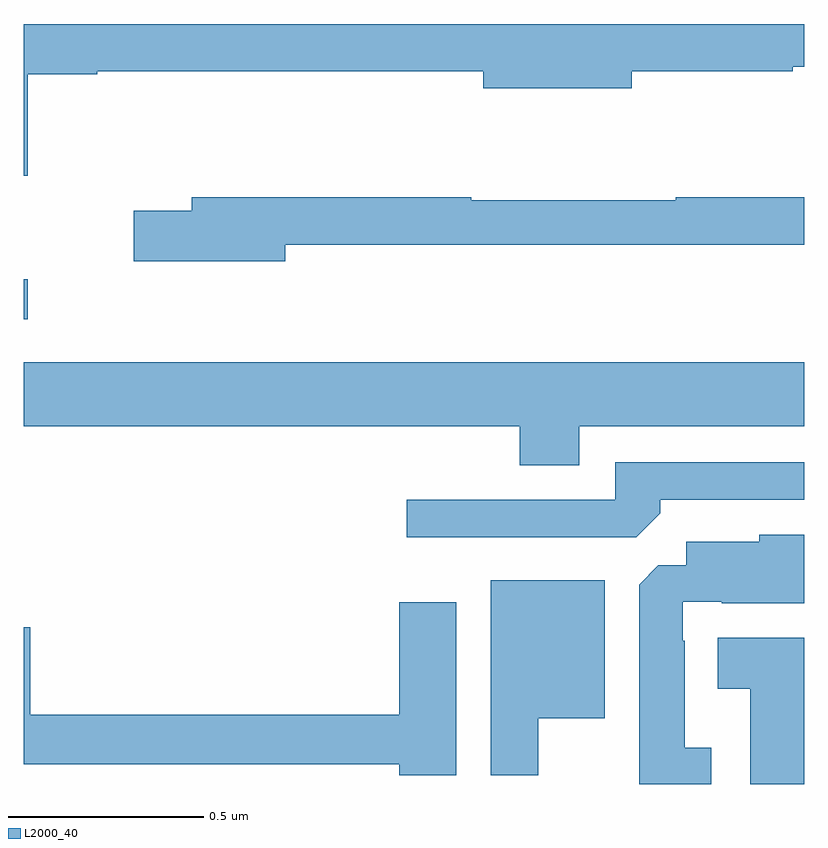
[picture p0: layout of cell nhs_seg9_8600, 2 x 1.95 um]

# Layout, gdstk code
import gdstk
lib = gdstk.Library(unit=1e-6, precision=1e-09)
def R(c, l, rs):  # rectangles x0, y0, x1, y1
    for r in rs: c.add(gdstk.rectangle(r[:2], r[2:], *l))
def P(c, l, *ps):  # polygons
    for p in ps: c.add(gdstk.Polygon(p, *l))
L2000_40 = (2000, 40)

nhs_seg9_8600 = lib.new_cell('nhs_seg9_8600')
R(nhs_seg9_8600, L2000_40, [(219,1200.69,219.011,1200.793)])
P(nhs_seg9_8600, L2000_40, [(219.011,1201.318),(219.188,1201.318),(219.188,1201.326),(220.178,1201.326),(220.178,1201.283),(220.558,1201.283),(220.558,1201.326),(220.97,1201.326),(220.97,1201.338),(221,1201.338),(221,1201.447),(219,1201.447),(219,1201.058),(219.011,1201.058)],
  [(219.67,1200.882),(221,1200.882),(221,1201.003),(220.67,1201.003),(220.67,1200.995),(220.147,1200.995),(220.147,1201.003),(219.431,1201.003),(219.431,1200.969),(219.282,1200.969),(219.282,1200.839),(219.67,1200.839)],
  [(220.423,1200.416),(221,1200.416),(221,1200.58),(219,1200.58),(219,1200.416),(220.271,1200.416),(220.271,1200.317),(220.423,1200.317)],
  [(220.631,1200.194),(220.631,1200.228),(221,1200.228),(221,1200.324),(220.515,1200.324),(220.515,1200.228),(219.981,1200.228),(219.981,1200.132),(220.569,1200.132)],
  [(220.762,1199.593),(220.693,1199.593),(220.693,1199.867),(220.689,1199.867),(220.689,1199.967),(220.789,1199.967),(220.789,1199.963),(221,1199.963),(221,1200.139),(220.884,1200.139),(220.884,1200.121),(220.697,1200.121),(220.697,1200.06),(220.626,1200.06),(220.577,1200.011),(220.577,1199.5),(220.762,1199.5)],
  [(220.318,1199.669),(220.489,1199.669),(220.489,1200.022),(220.196,1200.022),(220.196,1199.523),(220.318,1199.523)],
  [(220.108,1199.965),(219.962,1199.965),(219.962,1199.678),(219.017,1199.678),(219.017,1199.902),(219,1199.902),(219,1199.55),(219.962,1199.55),(219.962,1199.522),(220.108,1199.522)],
  [(221,1199.875),(220.778,1199.875),(220.778,1199.744),(220.862,1199.744),(220.862,1199.5),(221,1199.5)])

lib.write_gds('nhs_seg9_8600.gds')
